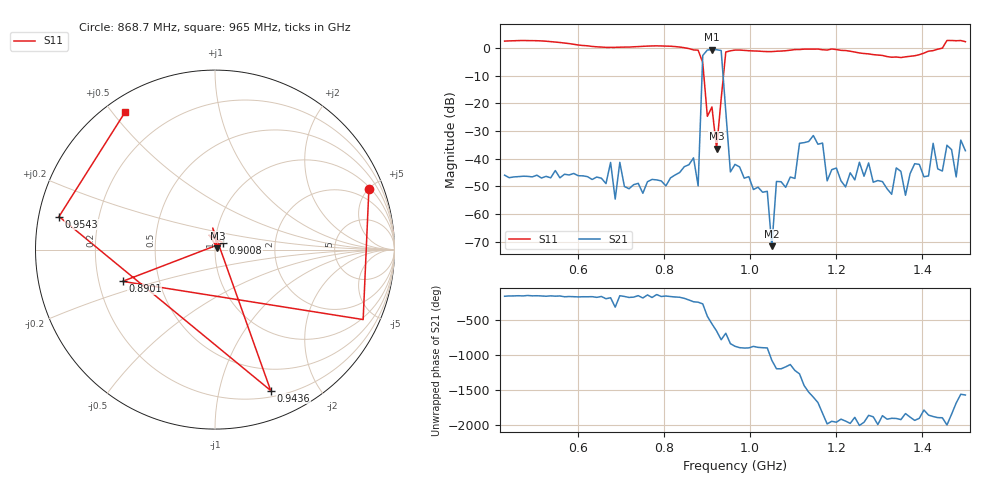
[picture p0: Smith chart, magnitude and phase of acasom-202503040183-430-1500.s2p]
# HZ S RI R 50
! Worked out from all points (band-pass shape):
!   101 points, 430 MHz to 1.5 GHz, reference 50 ohm
!   highest |S21| = -0.61 dB at 911.5 MHz (marker M1); lowest = -71.6 dB at 1.051 GHz (marker M2)
!   |S21| within 3 dB of the highest: 889.9 MHz to 934.2 MHz (44.31 MHz wide, 4.86 % of centre)
!   lowest |S11| = -36.3 dB at 922.2 MHz (marker M3), VSWR 1.03, Z = 51.3 + j0.767 ohm
!   |S11| at or under -10 dB: 892.7 MHz to 938.2 MHz (45.49 MHz wide, 4.97 % of centre)
!   S12 and S22 are empty: the file has one direction only
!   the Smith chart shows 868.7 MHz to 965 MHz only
!   S11 on the Smith chart (normalised r, x): 868.7 MHz: 1.14, +5.04; 890.1 MHz: 0.30, -0.15; 900.8 MHz: 1.09, +0.08; 943.6 MHz: 0.26, -1.44; 954.3 MHz: 0.06, +0.10; 965 MHz: 0.06, +0.54
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4.3e8  -1.246 0.4662  -0.00494 -0.000952  0 0  0 0
5.156e8  0.2887 1.31  -0.00431 -0.0012  0 0  0 0
6.119e8  1.059 -0.328  -0.00488 -0.000341  0 0  0 0
6.868e8  -0.2189 -1.003  0.00151 0.00109  0 0  0 0
7.938e8  -0.7975 0.7384  -0.00393 -0.000505  0 0  0 0
8.687e8  0.8573 0.3359  -0.00398 0.00953  0 0  0 0
8.794e8  0.8255 -0.3898  -0.000914 0.0031  0 0  0 0
8.901e8  -0.515 -0.1769  0.0999 0.7239  0 0  0 0
9.008e8  0.0445 0.0375  -0.0649 -0.9161  0 0  0 0
9.115e8  -0.0312 0.08  -0.8611 0.3563  0 0  0 0
9.222e8  0.0133 0.00747  0.5137 0.7767  0 0  0 0
9.329e8  -0.0123 0.1203  0.3346 -0.8345  0 0  0 0
9.436e8  0.3102 -0.7852  0.0651 0.0297  0 0  0 0
9.543e8  -0.8689 0.1843  -0.00319 -0.00479  0 0  0 0
9.65e8  -0.5008 0.7661  -0.00745 -0.00257  0 0  0 0
1.0399e9  0.8594 -0.0113  -0.00257 0.000207  0 0  0 0
1.0506e9  0.8329 -0.212  0.000262 -6.21e-06  0 0  0 0
1.0613e9  0.7741 -0.4032  -0.00197 -0.00334  0 0  0 0
1.1469e9  -0.5798 -0.7555  -0.0253 -0.00679  0 0  0 0
1.3288e9  0.4094 0.5437  -0.000633 -0.00218  0 0  0 0
1.4144e9  0.6218 -0.6155  0.00239 -0.00425  0 0  0 0
1.5e9  -0.5095 -1.195  -0.00976 -0.00993  0 0  0 0
